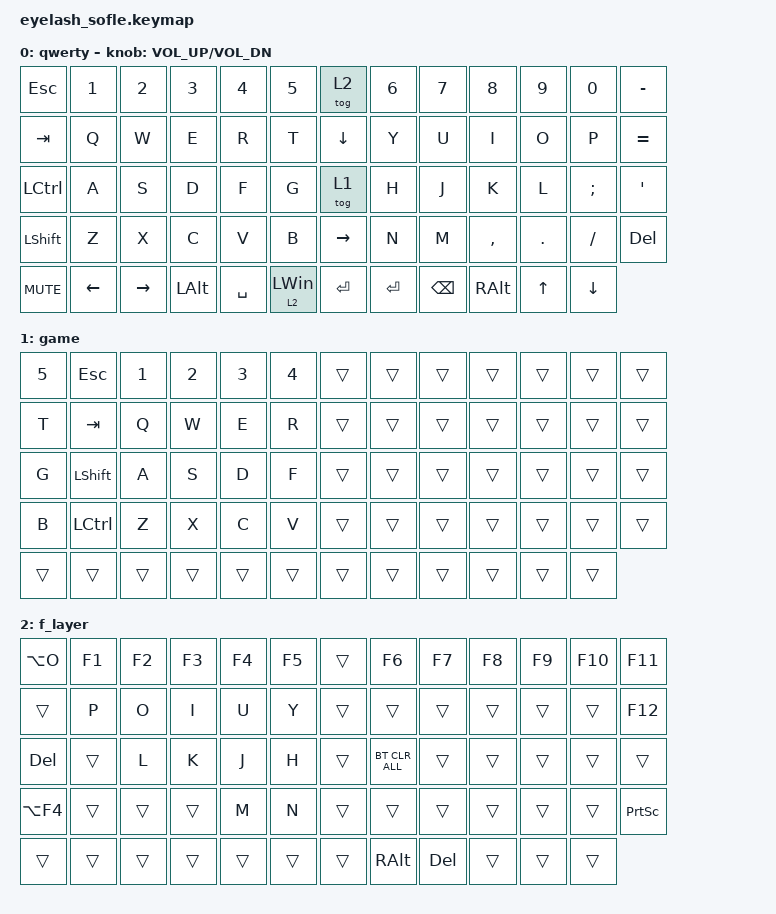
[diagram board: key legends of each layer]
#define ZMK_POINTING_DEFAULT_MOVE_VAL 1200  // 600
#define ZMK_POINTING_DEFAULT_SCRL_VAL 25   // 10

#include <input/processors.dtsi>
#include <zephyr/dt-bindings/input/input-event-codes.h>
#include <behaviors.dtsi>
#include <dt-bindings/zmk/bt.h>
#include <dt-bindings/zmk/keys.h>
#include <dt-bindings/zmk/pointing.h>

&mmv_input_listener { input-processors = <&zip_xy_scaler 2 1>; };

&msc_input_listener { input-processors = <&zip_scroll_scaler 2 1>; };

&msc {
    acceleration-exponent = <1>;      // 0
    time-to-max-speed-ms = <100>;       // 300
    delay-ms = <0>;                   // 0
};

&mmv {
    time-to-max-speed-ms = <500>;
    acceleration-exponent = <1>;
    trigger-period-ms = <16>;
};

&soft_off { hold-time-ms = <2000>; };

/ {
    scroll_encoder: scroll_encoder {
        compatible = "zmk,behavior-sensor-rotate";
        #sensor-binding-cells = <0>;
        bindings = <&msc SCRL_DOWN>, <&msc SCRL_UP>;

        tap-ms = <100>;
    };

    hm: homerow {
        compatible = "zmk,behavior-hold-tap";
        label = "HOMEROW";
        bindings = <&kp>, <&kp>;

        #binding-cells = <2>;
        tapping-term-ms = <380>;
        quick-tap-ms = <200>;
    };

    behaviors {
    };

    combos {
        compatible = "zmk,combos";

        ctrl_c {
            bindings = <&kp LC(C)>;
            key-positions = <41 42>;
        };

        ctrl_v {
            bindings = <&kp LC(V)>;
            key-positions = <42 43>;
        };

        b_right {
            bindings = <&kp B>;
            key-positions = <46 47>;
        };

        t {
            bindings = <&kp T>;
            key-positions = <17 18>;
        };

        g {
            bindings = <&kp G>;
            key-positions = <30 31>;
        };

        b_left {
            bindings = <&kp B>;
            key-positions = <43 44>;
        };

        tilde {
            bindings = <&kp TILDE>;
            key-positions = <0 1>;
        };
    };

    keymap {
        compatible = "zmk,keymap";

        layer_0 {
            bindings = <
&kp ESC           &kp N1          &kp N2           &kp N3        &kp N4     &kp N5            &tog 2           &kp N6     &kp N7         &kp N8         &kp N9        &kp N0          &kp MINUS
&kp TAB           &kp Q           &kp W            &kp E         &kp R      &kp T             &kp DOWN_ARROW   &kp Y      &kp U          &kp I          &kp O         &kp P           &kp EQUAL
&kp LEFT_CONTROL  &kp A           &kp S            &kp D         &kp F      &kp G             &tog 1           &kp H      &kp J          &kp K          &kp L         &kp SEMI        &kp APOS
&kp LEFT_SHIFT    &kp Z           &kp X            &kp C         &kp V      &kp B             &kp RIGHT_ARROW  &kp N      &kp M          &kp COMMA      &kp PERIOD    &kp SLASH       &kp DEL
&kp C_MUTE        &kp LEFT_ARROW  &kp RIGHT_ARROW  &kp LEFT_ALT  &kp SPACE  &lt 2 LEFT_WIN    &kp ENTER        &kp ENTER  &kp BACKSPACE  &kp RIGHT_ALT  &kp UP_ARROW  &kp DOWN_ARROW
            >;

            sensor-bindings = <&inc_dec_kp C_VOLUME_UP C_VOL_DN>;
            display-name = "qwerty";
        };

        layer_1 {
            bindings = <
&kp N5  &kp ESC    &kp N1  &kp N2  &kp N3  &kp N4    &trans  &trans  &trans  &trans  &trans  &trans  &trans
&kp T   &kp TAB    &kp Q   &kp W   &kp E   &kp R     &trans  &trans  &trans  &trans  &trans  &trans  &trans
&kp G   &kp LSHFT  &kp A   &kp S   &kp D   &kp F     &trans  &trans  &trans  &trans  &trans  &trans  &trans
&kp B   &kp LCTRL  &kp Z   &kp X   &kp C   &kp V     &trans  &trans  &trans  &trans  &trans  &trans  &trans
&trans  &trans     &trans  &trans  &trans  &trans    &trans  &trans  &trans  &trans  &trans  &trans
            >;

            label = "game";
        };

        layer_2 {
            bindings = <
&kp LA(O)   &kp F1  &kp F2  &kp F3  &kp F4  &kp F5    &trans  &kp F6          &kp F7      &kp F8  &kp F9  &kp F10  &kp F11
&trans      &kp P   &kp O   &kp I   &kp U   &kp Y     &trans  &trans          &trans      &trans  &trans  &trans   &kp F12
&kp DELETE  &trans  &kp L   &kp K   &kp J   &kp H     &trans  &bt BT_CLR_ALL  &trans      &trans  &trans  &trans   &trans
&kp LA(F4)  &trans  &trans  &trans  &kp M   &kp N     &trans  &trans          &trans      &trans  &trans  &trans   &kp PRINTSCREEN
&trans      &trans  &trans  &trans  &trans  &trans    &trans  &kp RIGHT_ALT   &kp DELETE  &trans  &trans  &trans
            >;

            label = "f_layer";
        };
    };
};
